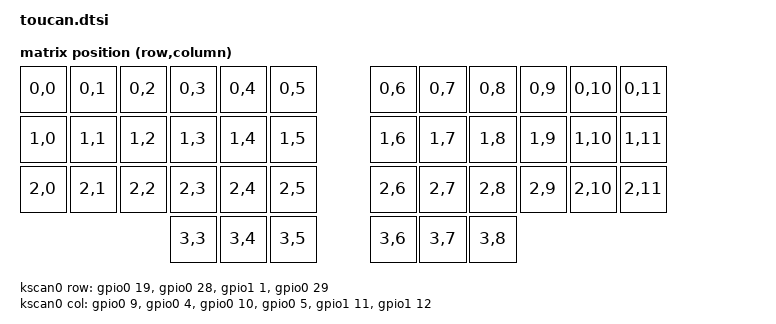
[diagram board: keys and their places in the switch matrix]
#include <input/processors.dtsi>
#include <dt-bindings/zmk/input_transform.h>
#include <dt-bindings/input/input-event-codes.h>
// keys.h defines a 1-arg RC() (right-control) that shadows matrix_transform.h's
// RC(row, col) -- matrix_transform.h MUST stay last so the map below still expands.
#include <dt-bindings/zmk/keys.h>
#include <dt-bindings/zmk/matrix_transform.h>
#include "toucan-layouts.dtsi"

&physical_layout0 {
    transform = <&default_transform>;
};

/ {
    chosen {
        zmk,kscan = &kscan0;
        zmk,physical-layout = &physical_layout0;
    };

    kscan0: kscan_0 {
        compatible = "zmk,kscan-gpio-matrix";
        diode-direction = "col2row";
        wakeup-source;

    col-gpios
    = <&gpio0 9 GPIO_ACTIVE_HIGH>
    , <&gpio0 4 GPIO_ACTIVE_HIGH>
    , <&gpio0 10 GPIO_ACTIVE_HIGH>
    , <&gpio0 5 GPIO_ACTIVE_HIGH>
    , <&gpio1 11 GPIO_ACTIVE_HIGH>
    , <&gpio1 12 GPIO_ACTIVE_HIGH>
    ;
    row-gpios
    = <&gpio0 19 (GPIO_ACTIVE_HIGH | GPIO_PULL_DOWN)>
    , <&gpio0 28 (GPIO_ACTIVE_HIGH | GPIO_PULL_DOWN)>
    , <&gpio1 1 (GPIO_ACTIVE_HIGH | GPIO_PULL_DOWN)>
    , <&gpio0 29 (GPIO_ACTIVE_HIGH | GPIO_PULL_DOWN)>
    ;
    };


    default_transform: keymap_transform_0 {
        compatible = "zmk,matrix-transform";
        columns = <12>;
        rows = <4>;
        // | SW1  | SW2  | SW3  | SW4  | SW5  | SW6  |   | SW6  | SW5  | SW4  | SW3  | SW2  | SW1  |
        // | SW7  | SW8  | SW9  | SW10 | SW11 | SW12 |   | SW12 | SW11 | SW10 | SW9  | SW8  | SW7  |
        // | SW13 | SW14 | SW15 | SW16 | SW17 | SW18 |   | SW18 | SW17 | SW16 | SW15 | SW14 | SW13 |
        //                      | SW19 | SW20 | SW21 |   | SW21 | SW20 | SW19 |
                map = <
        RC(0,0) RC(0,1) RC(0,2) RC(0,3) RC(0,4) RC(0,5)  RC(0,6) RC(0,7) RC(0,8) RC(0,9) RC(0,10) RC(0,11)
        RC(1,0) RC(1,1) RC(1,2) RC(1,3) RC(1,4) RC(1,5)  RC(1,6) RC(1,7) RC(1,8) RC(1,9) RC(1,10) RC(1,11)
        RC(2,0) RC(2,1) RC(2,2) RC(2,3) RC(2,4) RC(2,5)  RC(2,6) RC(2,7) RC(2,8) RC(2,9) RC(2,10) RC(2,11)
                                RC(3,3) RC(3,4) RC(3,5)  RC(3,6) RC(3,7) RC(3,8)
        >;
    };
};

/ {
    // Behaviour-invoking processors for the TPS43's gesture events. The macOS variants are
    // the base set; the _win variants are selected at runtime by the `win_mode` listener
    // override below (see the WIN layer in config/toucan.keymap).
    input_processors {
        // The TPS43 reports INPUT_BTN_TOUCH as a LEVEL signal -- 1 while any finger is
        // down, 0 when all lift (tps43.c, `is_touching = (num_fingers > 0)`). The input
        // listener maps INPUT_BTN_TOUCH straight onto mouse button 0 (input_listener.c,
        // handle_key_code), so if it ever reaches the HID path the left button is held for
        // the whole duration of every touch -- i.e. moving the pointer drag-selects.
        //
        // is_touching_processor consumes it by returning ZMK_INPUT_PROC_STOP, but that is
        // NOT enough on its own: in filter_with_input_config, a layer override discards
        // apply_config's return value and returns 0 (CONTINUE), so STOP raised inside the
        // `scroller` or `win_mode` children is silently lost and the event leaks through.
        //
        // Relabelling the code instead mutates the event itself, which survives regardless
        // of what happens to the return value. INPUT_BTN_5 is not one of the codes
        // handle_key_code acts on (BTN_0..BTN_4 and BTN_TOUCH), so it is inert.
        // This must be the FIRST processor in every list on trackpad_listener.
        btn_touch_relabel: btn_touch_relabel {
            compatible = "zmk,input-processor-code-mapper";
            #input-processor-cells = <0>;
            type = <INPUT_EV_KEY>;
            map = <INPUT_BTN_TOUCH INPUT_BTN_5>;
        };

        // Pinch-to-zoom. The driver reports the zoom delta as INPUT_REL_MISC.
        zip_zoom_mapper: zip_zoom_mapper {
            compatible = "zmk,input-processor-zoom";
            #input-processor-cells = <0>;
            event-code = <INPUT_REL_MISC>;
            sensitivity = <10>;
            bindings = <&kp LG(MINUS)>, <&kp LG(EQUAL)>;
            track-remainders;
        };

        zip_zoom_mapper_win: zip_zoom_mapper_win {
            compatible = "zmk,input-processor-zoom";
            #input-processor-cells = <0>;
            event-code = <INPUT_REL_MISC>;
            sensitivity = <10>;
            bindings = <&kp LC(MINUS)>, <&kp LC(EQUAL)>;
            track-remainders;
        };

        // Hold the mouse layer for as long as a finger rests on the pad, so the thumb
        // keys become mouse buttons without reaching for a layer key.
        is_touching_processor: is_touching_processor {
            compatible = "zmk,input-processor-behaviors";
            #input-processor-cells = <0>;
            codes = <INPUT_BTN_5>;   // BTN_TOUCH, relabelled by btn_touch_relabel above
            bindings = <&mo 4>;
        };

        // Three-finger swipes -> desktop/space switching. Requires `three-finger-swipe;`
        // on the trackpad node -- NOT `swipes`, which is the single-finger gesture
        // (see toucan_right.overlay).
        swipe_button_mapper: swipe_button_mapper {
            compatible = "zmk,input-processor-behaviors";
            #input-processor-cells = <0>;
            codes = <INPUT_BTN_NORTH INPUT_BTN_EAST INPUT_BTN_SOUTH INPUT_BTN_WEST>;
            bindings = <&kp LC(LG(UP))>, <&kp LC(LG(RIGHT))>, <&kp LC(LG(DOWN))>, <&kp LC(LG(LEFT))>;
        };

        swipe_button_mapper_win: swipe_button_mapper_win {
            compatible = "zmk,input-processor-behaviors";
            #input-processor-cells = <0>;
            codes = <INPUT_BTN_NORTH INPUT_BTN_EAST INPUT_BTN_SOUTH INPUT_BTN_WEST>;
            bindings = <&kp LG(TAB)>, <&kp LG(RIGHT)>, <&kp LG(D)>, <&kp LG(LEFT)>;
        };
    };

    split_inputs {
        #address-cells = <1>;
        #size-cells = <0>;

        trackpad_split: trackpad_split@0 {
            compatible = "zmk,input-split";
            reg = <0>;
        };
    };

    // Enabled only on the dongle (the split central) -- see toucan_dongle.overlay.
    //
    // Child order matters: zmk_input_listener scans the overrides in devicetree order and
    // the first one whose layer is active wins (process-next is not set), so `scroller`
    // must come before `win_mode` for a held LOWER/RAISE to beat a toggled-on WIN layer.
    trackpad_listener: trackpad_listener {
        compatible = "zmk,input-listener";
        status = "disabled";
        device = <&trackpad_split>;
        // Pointer speed is tuned on the sensor itself (`sensitivity`), so the scaler is 1:1.
        input-processors = <&btn_touch_relabel>, <&zip_xy_scaler 100 100>,
                           <&zip_scroll_scaler 1 20>, <&zip_zoom_mapper>,
                           <&is_touching_processor>, <&swipe_button_mapper>;

        // Hold LOWER/RAISE to turn the whole pad into a scroll surface (one finger).
        // Two-finger scroll from the sensor works on every layer regardless.
        scroller {
            layers = <1 2>;
            // is_touching_processor is repeated here so a touch that starts in one mode
            // and ends in another still gets its &mo 4 release -- otherwise the MOU layer
            // sticks on.
            input-processors = <
                &btn_touch_relabel
                &is_touching_processor
                &zip_xy_to_scroll_mapper
                &zip_scroll_scaler 1 20
                &zip_scroll_transform INPUT_TRANSFORM_X_INVERT
            >;
        };

        // WIN layer toggled on (&tog WIN in ADJ): swap the macOS zoom/swipe shortcuts for
        // the Windows/Linux ones. Everything else is identical to the base list.
        win_mode {
            layers = <5>;
            input-processors = <&btn_touch_relabel>, <&zip_xy_scaler 100 100>,
                               <&zip_scroll_scaler 1 20>, <&zip_zoom_mapper_win>,
                               <&is_touching_processor>, <&swipe_button_mapper_win>;
        };
    };
};
